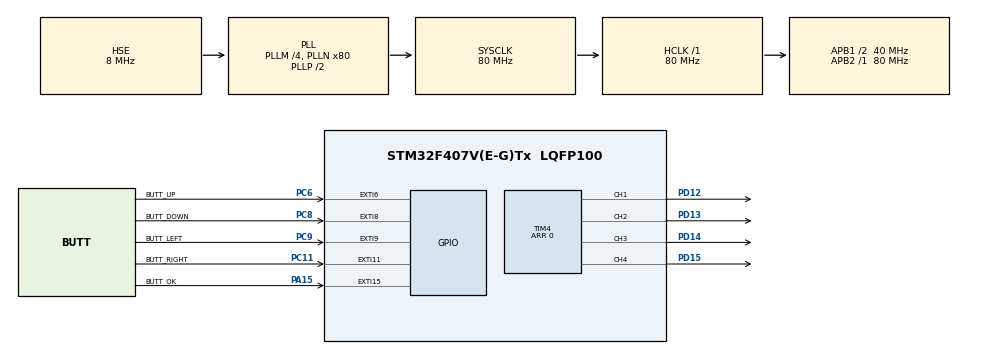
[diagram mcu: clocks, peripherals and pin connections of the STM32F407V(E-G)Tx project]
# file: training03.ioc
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Mcu.Family=STM32F4
Mcu.Name=STM32F407V(E-G)Tx
Mcu.Package=LQFP100
Mcu.UserConstants=TIM4_PRESCALER,8
NVIC.EXTI15_10_IRQn=true\:0\:0\:false\:false\:true\:true\:true
NVIC.EXTI9_5_IRQn=true\:0\:0\:false\:false\:true\:true\:true
NVIC.PriorityGroup=NVIC_PRIORITYGROUP_4
PA15.GPIO_Label=BUTT_OK
PA15.GPIO_ModeDefaultEXTI=GPIO_MODE_IT_FALLING
PA15.GPIO_PuPd=GPIO_NOPULL
PA15.Signal=GPXTI15
PC11.GPIO_Label=BUTT_RIGHT
PC11.GPIO_ModeDefaultEXTI=GPIO_MODE_IT_FALLING
PC11.GPIO_PuPd=GPIO_NOPULL
PC11.Signal=GPXTI11
PC6.GPIO_Label=BUTT_UP
PC6.GPIO_ModeDefaultEXTI=GPIO_MODE_IT_FALLING
PC6.GPIO_PuPd=GPIO_NOPULL
PC6.Signal=GPXTI6
PC8.GPIO_Label=BUTT_DOWN
PC8.GPIO_ModeDefaultEXTI=GPIO_MODE_IT_FALLING
PC8.GPIO_PuPd=GPIO_NOPULL
PC8.Signal=GPXTI8
PC9.GPIO_Label=BUTT_LEFT
PC9.GPIO_ModeDefaultEXTI=GPIO_MODE_IT_FALLING
PC9.GPIO_PuPd=GPIO_NOPULL
PC9.Signal=GPXTI9
PD12.GPIO_PuPd=GPIO_PULLDOWN
PD12.Signal=S_TIM4_CH1
PD13.GPIO_PuPd=GPIO_PULLDOWN
PD13.Signal=S_TIM4_CH2
PD14.GPIO_PuPd=GPIO_PULLDOWN
PD14.Signal=S_TIM4_CH3
PD15.GPIO_PuPd=GPIO_PULLDOWN
PD15.Signal=S_TIM4_CH4
PH0-OSC_IN.Mode=HSE-External-Oscillator
PH0-OSC_IN.Signal=RCC_OSC_IN
PH1-OSC_OUT.Mode=HSE-External-Oscillator
PH1-OSC_OUT.Signal=RCC_OSC_OUT
ProjectManager.HeapSize=0x200
ProjectManager.StackSize=0x400
ProjectManager.TargetToolchain=STM32CubeIDE
RCC.48MHZClocksFreq_Value=40000000
RCC.AHBFreq_Value=80000000
RCC.APB1CLKDivider=RCC_HCLK_DIV2
RCC.APB1Freq_Value=40000000
RCC.APB1TimFreq_Value=80000000
RCC.APB2Freq_Value=80000000
RCC.APB2TimFreq_Value=80000000
RCC.CortexFreq_Value=80000000
RCC.HCLKFreq_Value=80000000
RCC.HSE_VALUE=8000000
RCC.HSI_VALUE=16000000
RCC.LSE_VALUE=32768
RCC.PLLM=4
RCC.PLLN=80
RCC.PLLSourceVirtual=RCC_PLLSOURCE_HSE
RCC.SYSCLKFreq_VALUE=80000000
RCC.SYSCLKSource=RCC_SYSCLKSOURCE_PLLCLK
RCC.VCOOutputFreq_Value=160000000
SH.S_TIM4_CH1.0=TIM4_CH1,PWM Generation1 CH1
SH.S_TIM4_CH2.0=TIM4_CH2,PWM Generation2 CH2
SH.S_TIM4_CH3.0=TIM4_CH3,PWM Generation3 CH3
SH.S_TIM4_CH4.0=TIM4_CH4,PWM Generation4 CH4
TIM4.Channel-PWM\ Generation1\ CH1=TIM_CHANNEL_1
TIM4.Channel-PWM\ Generation2\ CH2=TIM_CHANNEL_2
TIM4.Channel-PWM\ Generation3\ CH3=TIM_CHANNEL_3
TIM4.Channel-PWM\ Generation4\ CH4=TIM_CHANNEL_4
TIM4.OCFastMode_PWM-PWM\ Generation1\ CH1=TIM_OCFAST_ENABLE
TIM4.OCFastMode_PWM-PWM\ Generation2\ CH2=TIM_OCFAST_ENABLE
TIM4.OCFastMode_PWM-PWM\ Generation3\ CH3=TIM_OCFAST_ENABLE
TIM4.OCFastMode_PWM-PWM\ Generation4\ CH4=TIM_OCFAST_ENABLE
TIM4.Period=0
TIM4.Prescaler=TIM4_PRESCALER-1
TIM4.Pulse-PWM\ Generation1\ CH1=0
board=custom

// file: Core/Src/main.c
/* USER CODE BEGIN Header */
/**
  ******************************************************************************
  * @file           : main.c
  * @brief          : Main program body
  ******************************************************************************
  * @attention
  *
  * <h2><center>&copy; Copyright (c) 2021 STMicroelectronics.
  * All rights reserved.</center></h2>
  *
  * This software component is licensed by ST under BSD 3-Clause license,
  * the "License"; You may not use this file except in compliance with the
  * License. You may obtain a copy of the License at:
  *                        opensource.org/licenses/BSD-3-Clause
  *
  ******************************************************************************
  */
/* USER CODE END Header */
#include "main.h"

/* USER CODE BEGIN PD */

#define FREQ_STEP 5000				// Hz
#define START_FREQ 50000			// Hz
#define MIN_FREQ FREQ_STEP
#define MAX_FREQ 100000				// Hz

#define PWM_DUTY_CYCLE_STEP 5		// %
#define PWM_DUTY_CYCLE_START 50		// %
#define MIN_DUTY_CYCLE 0			// %
#define MAX_DUTY_CYCLE 100			// %

#define NUM_OF_PWM_CH 4
#define FIRST_PWM_CH 1
#define IDLE_MODE 0

/* USER CODE END PD */

TIM_HandleTypeDef htim4;

/* USER CODE BEGIN PV */

uint32_t PWMPeriod;
uint32_t carrierFreq;
uint32_t currentFreq = START_FREQ;
uint32_t currentDutyCycle;
uint8_t currentPWMch = FIRST_PWM_CH;
uint8_t DCPercent = PWM_DUTY_CYCLE_START;
/* USER CODE END PV */

void SystemClock_Config(void);
static void MX_GPIO_Init(void);
static void MX_TIM4_Init(void);
/* USER CODE BEGIN PFP */
void updatePWMData(void);
uint32_t simple_divide(uint32_t divided, uint32_t divider);
/* USER CODE END PFP */

/* USER CODE BEGIN 0 */
/* @brief GPIO EXTI PIN Handler
 * @param GPIO PIN caused an interruption
 * @retval None
 * */
void HAL_GPIO_EXTI_Callback(uint16_t GPIO_Pin) {

	switch (GPIO_Pin) {
	case BUTT_UP_Pin:
		/*Frequency up*/
		currentFreq = (currentFreq < MAX_FREQ) ? (currentFreq + FREQ_STEP) : (MAX_FREQ);
		updatePWMData();
		break;
	case BUTT_DOWN_Pin:
		/*Frequency down*/
		currentFreq = (currentFreq > MIN_FREQ) ? (currentFreq - FREQ_STEP) : (MIN_FREQ);
		updatePWMData();
		break;
	case BUTT_LEFT_Pin:
		/*Duty cycle down*/
		DCPercent = (DCPercent > MIN_DUTY_CYCLE) ? (DCPercent - PWM_DUTY_CYCLE_STEP) : (MIN_DUTY_CYCLE);
		updatePWMData();
		break;
	case BUTT_RIGHT_Pin:
		/*Duty cycle up*/
		DCPercent = (DCPercent < MAX_DUTY_CYCLE) ? (DCPercent + PWM_DUTY_CYCLE_STEP) : (MAX_DUTY_CYCLE);
		updatePWMData();
		break;
	case BUTT_OK_Pin:
		/*Cyclically switching PWM channels*/
		currentPWMch = (currentPWMch >= NUM_OF_PWM_CH) ? (IDLE_MODE) : (currentPWMch + 1);
		updatePWMData();
		break;
	}

}

/* @brief update frequency and duty cycle for current PWM channel
 * @param none
 * @retval none
 * */
void updatePWMData(void){
	PWMPeriod = simple_divide(carrierFreq, currentFreq);
	htim4.Instance->ARR = PWMPeriod - 1;

	currentDutyCycle =  simple_divide((PWMPeriod * DCPercent), 100);

	switch (currentPWMch){
	case 0:
		htim4.Instance->CCR1 = 0;
		htim4.Instance->CCR2 = 0;
		htim4.Instance->CCR3 = 0;
		htim4.Instance->CCR4 = 0;
		break;
	case 1:
		htim4.Instance->CCR1 = currentDutyCycle;
		htim4.Instance->CCR2 = 0;
		htim4.Instance->CCR3 = 0;
		htim4.Instance->CCR4 = 0;
		break;
	case 2:
		htim4.Instance->CCR1 = 0;
		htim4.Instance->CCR2 = currentDutyCycle;
		htim4.Instance->CCR3 = 0;
		htim4.Instance->CCR4 = 0;
		break;
	case 3:
		htim4.Instance->CCR1 = 0;
		htim4.Instance->CCR2 = 0;
		htim4.Instance->CCR3 = currentDutyCycle;
		htim4.Instance->CCR4 = 0;
		break;
	case 4:
		htim4.Instance->CCR1 = 0;
		htim4.Instance->CCR2 = 0;
		htim4.Instance->CCR3 = 0;
		htim4.Instance->CCR4 = currentDutyCycle;
		break;
	}
}

/* @brief Simple function for divide
 * @param (uint32_t) divided and divider for correct operation
 * @retval Result of dividing (uint32_t)
 * */
uint32_t simple_divide(uint32_t divided, uint32_t divider) {
	if (divider == 0 || divided == 0) return 0;
	else return (divided / divider);
}
/* USER CODE END 0 */

int main(void)
{

  /* MCU Configuration--------------------------------------------------------*/

  /* Reset of all peripherals, Initializes the Flash interface and the Systick. */
  HAL_Init();

  /* Configure the system clock */
  SystemClock_Config();

  /* Initialize all configured peripherals */
  MX_GPIO_Init();
  MX_TIM4_Init();
  /* USER CODE BEGIN 2 */
  HAL_TIM_PWM_Start(&htim4, TIM_CHANNEL_1);
  HAL_TIM_PWM_Start(&htim4, TIM_CHANNEL_2);
  HAL_TIM_PWM_Start(&htim4, TIM_CHANNEL_3);
  HAL_TIM_PWM_Start(&htim4, TIM_CHANNEL_4);

  carrierFreq = (uint32_t)((HAL_RCC_GetPCLK1Freq() * 2)/(TIM4_PRESCALER));

  updatePWMData();
  /* USER CODE END 2 */

  /* Infinite loop */
  while (1)
  {

  }
}

void SystemClock_Config(void)
{
  RCC_OscInitTypeDef RCC_OscInitStruct = {0};
  RCC_ClkInitTypeDef RCC_ClkInitStruct = {0};

  /** Configure the main internal regulator output voltage
  */
  __HAL_RCC_PWR_CLK_ENABLE();
  __HAL_PWR_VOLTAGESCALING_CONFIG(PWR_REGULATOR_VOLTAGE_SCALE1);
  /** Initializes the RCC Oscillators according to the specified parameters
  * in the RCC_OscInitTypeDef structure.
  */
  RCC_OscInitStruct.OscillatorType = RCC_OSCILLATORTYPE_HSE;
  RCC_OscInitStruct.HSEState = RCC_HSE_ON;
  RCC_OscInitStruct.PLL.PLLState = RCC_PLL_ON;
  RCC_OscInitStruct.PLL.PLLSource = RCC_PLLSOURCE_HSE;
  RCC_OscInitStruct.PLL.PLLM = 4;
  RCC_OscInitStruct.PLL.PLLN = 80;
  RCC_OscInitStruct.PLL.PLLP = RCC_PLLP_DIV2;
  RCC_OscInitStruct.PLL.PLLQ = 4;
  if (HAL_RCC_OscConfig(&RCC_OscInitStruct) != HAL_OK)
  {
    Error_Handler();
  }
  /** Initializes the CPU, AHB and APB buses clocks
  */
  RCC_ClkInitStruct.ClockType = RCC_CLOCKTYPE_HCLK|RCC_CLOCKTYPE_SYSCLK
                              |RCC_CLOCKTYPE_PCLK1|RCC_CLOCKTYPE_PCLK2;
  RCC_ClkInitStruct.SYSCLKSource = RCC_SYSCLKSOURCE_PLLCLK;
  RCC_ClkInitStruct.AHBCLKDivider = RCC_SYSCLK_DIV1;
  RCC_ClkInitStruct.APB1CLKDivider = RCC_HCLK_DIV2;
  RCC_ClkInitStruct.APB2CLKDivider = RCC_HCLK_DIV1;

  if (HAL_RCC_ClockConfig(&RCC_ClkInitStruct, FLASH_LATENCY_2) != HAL_OK)
  {
    Error_Handler();
  }
}

static void MX_TIM4_Init(void)
{

  TIM_MasterConfigTypeDef sMasterConfig = {0};
  TIM_OC_InitTypeDef sConfigOC = {0};

  htim4.Instance = TIM4;
  htim4.Init.Prescaler = TIM4_PRESCALER-1;
  htim4.Init.CounterMode = TIM_COUNTERMODE_UP;
  htim4.Init.Period = 0;
  htim4.Init.ClockDivision = TIM_CLOCKDIVISION_DIV1;
  htim4.Init.AutoReloadPreload = TIM_AUTORELOAD_PRELOAD_DISABLE;
  if (HAL_TIM_PWM_Init(&htim4) != HAL_OK)
  {
    Error_Handler();
  }
  sMasterConfig.MasterOutputTrigger = TIM_TRGO_RESET;
  sMasterConfig.MasterSlaveMode = TIM_MASTERSLAVEMODE_DISABLE;
  if (HAL_TIMEx_MasterConfigSynchronization(&htim4, &sMasterConfig) != HAL_OK)
  {
    Error_Handler();
  }
  sConfigOC.OCMode = TIM_OCMODE_PWM1;
  sConfigOC.Pulse = 0;
  sConfigOC.OCPolarity = TIM_OCPOLARITY_HIGH;
  sConfigOC.OCFastMode = TIM_OCFAST_ENABLE;
  if (HAL_TIM_PWM_ConfigChannel(&htim4, &sConfigOC, TIM_CHANNEL_1) != HAL_OK)
  {
    Error_Handler();
  }
  if (HAL_TIM_PWM_ConfigChannel(&htim4, &sConfigOC, TIM_CHANNEL_2) != HAL_OK)
  {
    Error_Handler();
  }
  if (HAL_TIM_PWM_ConfigChannel(&htim4, &sConfigOC, TIM_CHANNEL_3) != HAL_OK)
  {
    Error_Handler();
  }
  if (HAL_TIM_PWM_ConfigChannel(&htim4, &sConfigOC, TIM_CHANNEL_4) != HAL_OK)
  {
    Error_Handler();
  }
  HAL_TIM_MspPostInit(&htim4);

}

static void MX_GPIO_Init(void)
{
  GPIO_InitTypeDef GPIO_InitStruct = {0};

  /* GPIO Ports Clock Enable */
  __HAL_RCC_GPIOH_CLK_ENABLE();
  __HAL_RCC_GPIOD_CLK_ENABLE();
  __HAL_RCC_GPIOC_CLK_ENABLE();
  __HAL_RCC_GPIOA_CLK_ENABLE();

  /*Configure GPIO pins : BUTT_UP_Pin BUTT_DOWN_Pin BUTT_LEFT_Pin BUTT_RIGHT_Pin */
  GPIO_InitStruct.Pin = BUTT_UP_Pin|BUTT_DOWN_Pin|BUTT_LEFT_Pin|BUTT_RIGHT_Pin;
  GPIO_InitStruct.Mode = GPIO_MODE_IT_FALLING;
  GPIO_InitStruct.Pull = GPIO_NOPULL;
  HAL_GPIO_Init(GPIOC, &GPIO_InitStruct);

  /*Configure GPIO pin : BUTT_OK_Pin */
  GPIO_InitStruct.Pin = BUTT_OK_Pin;
  GPIO_InitStruct.Mode = GPIO_MODE_IT_FALLING;
  GPIO_InitStruct.Pull = GPIO_NOPULL;
  HAL_GPIO_Init(BUTT_OK_GPIO_Port, &GPIO_InitStruct);

  /* EXTI interrupt init*/
  HAL_NVIC_SetPriority(EXTI9_5_IRQn, 0, 0);
  HAL_NVIC_EnableIRQ(EXTI9_5_IRQn);

  HAL_NVIC_SetPriority(EXTI15_10_IRQn, 0, 0);
  HAL_NVIC_EnableIRQ(EXTI15_10_IRQn);

}

void Error_Handler(void)
{
  __disable_irq();
  while (1)
  {
  }
}

/************************ (C) COPYRIGHT STMicroelectronics *****END OF FILE****/
